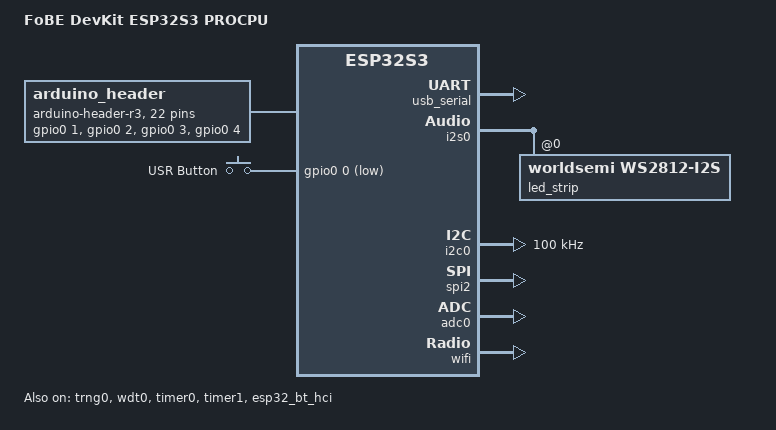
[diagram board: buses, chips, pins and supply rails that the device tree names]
/*
 * Copyright (c) 2026 FoBE Studio
 *
 * SPDX-License-Identifier: Apache-2.0
 */

/dts-v1/;

#include <espressif/esp32s3/esp32s3_wroom_n16r8.dtsi>
#include <espressif/partitions_0x0_amp_16M.dtsi>
#include <zephyr/dt-bindings/gpio/arduino-header-r3.h>
#include <zephyr/dt-bindings/input/input-event-codes.h>
#include <zephyr/dt-bindings/led/led.h>
#include "devkit_esp32s3-pinctrl.dtsi"

/ {
	model = "FoBE DevKit ESP32S3 PROCPU";
	compatible = "fobe,devkit-esp32s3";

	chosen {
		zephyr,sram = &sram1;
		zephyr,console = &usb_serial;
		zephyr,shell-uart = &usb_serial;
		zephyr,flash = &flash0;
		zephyr,code-partition = &slot0_partition;
		zephyr,bt-hci = &esp32_bt_hci;
	};

	arduino_header: connector {
		compatible = "arduino-header-r3";
		#gpio-cells = <2>;
		gpio-map-mask = <0xffffffff 0xffffffc0>;
		gpio-map-pass-thru = <0 0x3f>;
		gpio-map = <ARDUINO_HEADER_R3_A0 0 &gpio0 1 0>,
			   <ARDUINO_HEADER_R3_A1 0 &gpio0 2 0>,
			   <ARDUINO_HEADER_R3_A2 0 &gpio0 3 0>,
			   <ARDUINO_HEADER_R3_A3 0 &gpio0 4 0>,
			   <ARDUINO_HEADER_R3_A4 0 &gpio0 5 0>,
			   <ARDUINO_HEADER_R3_A5 0 &gpio0 6 0>,
			   <ARDUINO_HEADER_R3_D0 0 &gpio1 8 0>,
			   <ARDUINO_HEADER_R3_D1 0 &gpio1 9 0>,
			   <ARDUINO_HEADER_R3_D2 0 &gpio0 15 0>,
			   <ARDUINO_HEADER_R3_D3 0 &gpio0 16 0>,
			   <ARDUINO_HEADER_R3_D4 0 &gpio0 17 0>,
			   <ARDUINO_HEADER_R3_D5 0 &gpio0 18 0>,
			   <ARDUINO_HEADER_R3_D6 0 &gpio0 7 0>,
			   <ARDUINO_HEADER_R3_D7 0 &gpio0 8 0>,
			   <ARDUINO_HEADER_R3_D8 0 &gpio0 9 0>,
			   <ARDUINO_HEADER_R3_D9 0 &gpio0 14 0>,
			   <ARDUINO_HEADER_R3_D10 0 &gpio0 10 0>,
			   <ARDUINO_HEADER_R3_D11 0 &gpio0 11 0>,
			   <ARDUINO_HEADER_R3_D12 0 &gpio0 13 0>,
			   <ARDUINO_HEADER_R3_D13 0 &gpio0 12 0>,
			   <ARDUINO_HEADER_R3_D14 0 &gpio1 15 0>,
			   <ARDUINO_HEADER_R3_D15 0 &gpio1 16 0>;
	};
	
	buttons: buttons {
		compatible = "gpio-keys";

		button0: button_0 {
			gpios = <&gpio0 0 (GPIO_PULL_UP | GPIO_ACTIVE_LOW)>;
			label = "USR Button";
			zephyr,code = <INPUT_KEY_0>;
		};
	};

	aliases {
		mcuboot-button0 = &button0;
		led-strip = &led_strip;
		sw0 = &button0;
		i2c-0 = &i2c0;
		watchdog0 = &wdt0;
	};
};

&usb_serial {
	status = "okay";
};

&uart0 {
	status = "disabled";
};

&uart1 {
	status = "disabled";
};

&i2s0 {
	status = "okay";
	pinctrl-names = "default";
	pinctrl-0 = <&i2s0_default>;


	dmas = <&dma 3>;
	dma-names = "tx";

	led_strip: ws2812@0 {
		compatible = "worldsemi,ws2812-i2s";

		reg = <0>;
		chain-length = <1>;
		color-mapping = <LED_COLOR_ID_GREEN
				 LED_COLOR_ID_RED
				 LED_COLOR_ID_BLUE>;
		reset-delay = <500>;
	};
};

&dma {
	status = "okay";
};

&i2c0 {
	status = "okay";
	clock-frequency = <I2C_BITRATE_STANDARD>;
	pinctrl-0 = <&i2c0_default>;
	pinctrl-names = "default";
};

&trng0 {
	status = "okay";
};

&spi2 {
	#address-cells = <1>;
	#size-cells = <0>;
	status = "okay";
	pinctrl-0 = <&spim2_default>;
	pinctrl-names = "default";
};

&gpio0 {
	status = "okay";
};

&gpio1 {
	status = "okay";
};

&adc0 {
	status = "okay";
	#address-cells = <1>;
	#size-cells = <0>;
};

&wdt0 {
	status = "okay";
};

&timer0 {
	status = "okay";
};

&timer1 {
	status = "okay";
};

&esp32_bt_hci {
	status = "okay";
};

&wifi {
	status = "okay";
};

arduino_serial: &uart0 {};

arduino_i2c: &i2c0 {};

arduino_spi: &spi2 {};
